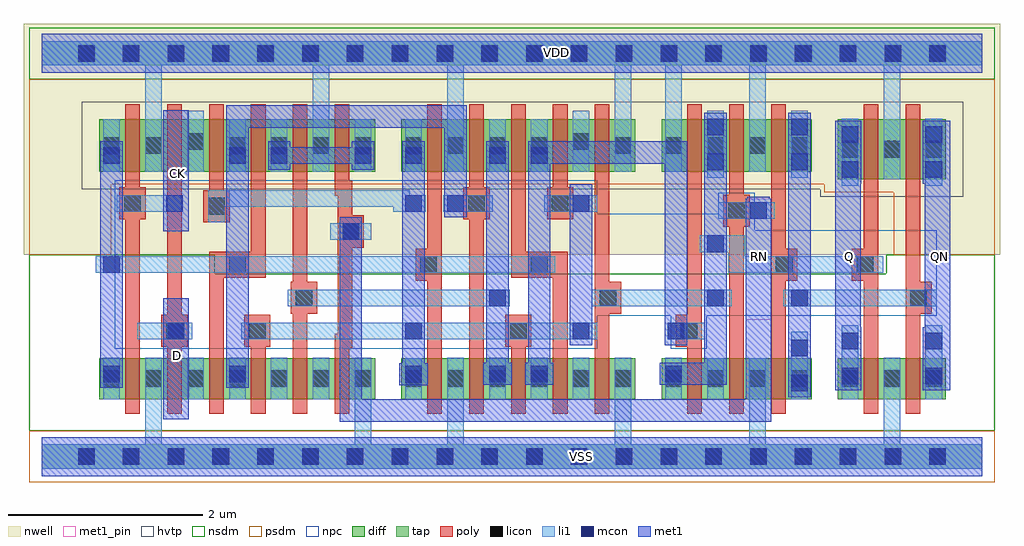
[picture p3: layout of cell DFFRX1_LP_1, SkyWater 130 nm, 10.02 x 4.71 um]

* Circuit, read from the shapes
.subckt DFFRX1_LP_1 CK D Q QN RN VDD VSS
XM1 VSS CK n1 VSS sky130_fd_pr__nfet_01v8 w=0.42 l=0.15
XM2 n2 D VSS VSS sky130_fd_pr__nfet_01v8 w=0.42 l=0.15
XM3 n3 n1 n2 VSS sky130_fd_pr__nfet_01v8 w=0.42 l=0.15
XM4 n4 n5 n3 VSS sky130_fd_pr__nfet_01v8 w=0.42 l=0.15
XM5 n6 n7 n4 VSS sky130_fd_pr__nfet_01v8 w=0.42 l=0.15
XM6 VSS RN n6 VSS sky130_fd_pr__nfet_01v8 w=0.42 l=0.15
XM7 VSS n1 n5 VSS sky130_fd_pr__nfet_01v8 w=0.42 l=0.15
XM8 n7 n3 VSS VSS sky130_fd_pr__nfet_01v8 w=0.42 l=0.15
XM9 n8 n5 n7 VSS sky130_fd_pr__nfet_01v8 w=0.42 l=0.15
XM10 n9 n1 n8 VSS sky130_fd_pr__nfet_01v8 w=0.42 l=0.15
XM11 VSS n10 n9 VSS sky130_fd_pr__nfet_01v8 w=0.42 l=0.15
XM12 n11 n8 n10 VSS sky130_fd_pr__nfet_01v8 w=0.42 l=0.15
XM13 VSS RN n11 VSS sky130_fd_pr__nfet_01v8 w=0.42 l=0.15
XM14 n12 n10 VSS VSS sky130_fd_pr__nfet_01v8 w=0.42 l=0.15
XM15 VSS n10 Q VSS sky130_fd_pr__nfet_01v8 w=0.42 l=0.15
XM16 QN n12 VSS VSS sky130_fd_pr__nfet_01v8 w=0.42 l=0.15
XM17 VDD CK n1 VDD sky130_fd_pr__pfet_01v8_hvt w=0.54 l=0.15
XM18 n13 D VDD VDD sky130_fd_pr__pfet_01v8_hvt w=0.54 l=0.15
XM19 n3 n5 n13 VDD sky130_fd_pr__pfet_01v8_hvt w=0.54 l=0.15
XM20 n14 n1 n3 VDD sky130_fd_pr__pfet_01v8_hvt w=0.54 l=0.15
XM21 VDD n7 n14 VDD sky130_fd_pr__pfet_01v8_hvt w=0.54 l=0.15
XM22 n14 RN VDD VDD sky130_fd_pr__pfet_01v8_hvt w=0.54 l=0.15
XM23 VDD n1 n5 VDD sky130_fd_pr__pfet_01v8_hvt w=0.54 l=0.15
XM24 n7 n3 VDD VDD sky130_fd_pr__pfet_01v8_hvt w=0.54 l=0.15
XM25 n8 n1 n7 VDD sky130_fd_pr__pfet_01v8_hvt w=0.54 l=0.15
XM26 n15 n5 n8 VDD sky130_fd_pr__pfet_01v8_hvt w=0.54 l=0.15
XM27 VDD n10 n15 VDD sky130_fd_pr__pfet_01v8_hvt w=0.54 l=0.15
XM28 n10 n8 VDD VDD sky130_fd_pr__pfet_01v8_hvt w=0.54 l=0.15
XM29 VDD RN n10 VDD sky130_fd_pr__pfet_01v8_hvt w=0.54 l=0.15
XM30 n12 n10 VDD VDD sky130_fd_pr__pfet_01v8_hvt w=0.54 l=0.15
XM31 VDD n10 Q VDD sky130_fd_pr__pfet_01v8_hvt w=0.62 l=0.15
XM32 QN n12 VDD VDD sky130_fd_pr__pfet_01v8_hvt w=0.62 l=0.15
.ends

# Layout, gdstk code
from math import pi, radians
import gdstk
lib = gdstk.Library(unit=1e-6, precision=1e-09)
def R(c, l, rs):  # rectangles x0, y0, x1, y1
    for r in rs: c.add(gdstk.rectangle(r[:2], r[2:], *l))
def A(c, l, x, y, w, h, nx, ny, dx, dy):  # array of equal rectangles
    R(c, l, [(x+i*dx, y+j*dy, x+i*dx+w, y+j*dy+h) for i in range(nx) for j in range(ny)])
def P(c, l, *ps):  # polygons
    for p in ps: c.add(gdstk.Polygon(p, *l))
nwell = (64, 20)
diff = (65, 20)
tap = (65, 44)
poly = (66, 20)
licon = (66, 44)
li1 = (67, 20)
mcon = (67, 44)
met1_pin = (68, 16)
met1 = (68, 20)
hvtp = (78, 44)
nsdm = (93, 44)
psdm = (94, 20)
npc = (95, 20)

licondiff_c__13 = lib.new_cell('LICONDIFF_C$$13')
R(licondiff_c__13, diff, [(-0.125,-0.145,0.125,0.145)])
R(licondiff_c__13, licon, [(-0.085,-0.085,0.085,0.085), (-0.085,-0.085,0.085,0.085)])

pyl1con_c__14 = lib.new_cell('PYL1CON_C$$14')
R(pyl1con_c__14, poly, [(-0.135,-0.165,0.135,0.165)])
R(pyl1con_c__14, licon, [(-0.085,-0.085,0.085,0.085)])
R(pyl1con_c__14, npc, [(-0.185,-0.185,0.185,0.185)])

pyl1con_c__15 = lib.new_cell('PYL1CON_C$$15')
R(pyl1con_c__15, poly, [(-0.135,-0.29,0.135,0.29)])
R(pyl1con_c__15, licon, [(-0.085,-0.085,0.085,0.085)])
R(pyl1con_c__15, npc, [(-0.185,-0.185,0.185,0.185)])

l1m1_c__16 = lib.new_cell('L1M1_C$$16')
R(l1m1_c__16, li1, [(-0.165,-0.085,0.085,0.085)])
R(l1m1_c__16, mcon, [(-0.085,-0.085,0.085,0.085)])
R(l1m1_c__16, met1, [(-0.115,-0.145,0.115,0.145)])

l1m1_c__17 = lib.new_cell('L1M1_C$$17')
R(l1m1_c__17, li1, [(-0.125,-0.085,0.125,0.085)])
R(l1m1_c__17, mcon, [(-0.085,-0.085,0.085,0.085)])
R(l1m1_c__17, met1, [(-0.115,-0.145,0.115,0.145)])

l1m1_c__18_0 = lib.new_cell('L1M1_C$$18_0')
R(l1m1_c__18_0, li1, [(-0.085,-0.165,0.085,0.165)])
R(l1m1_c__18_0, mcon, [(-0.085,-0.085,0.085,0.085)])
R(l1m1_c__18_0, met1, [(-0.145,-0.115,0.145,0.115)])

l1m1_c__19 = lib.new_cell('L1M1_C$$19')
R(l1m1_c__19, li1, [(-0.085,-0.165,0.085,0.165)])
R(l1m1_c__19, mcon, [(-0.085,-0.085,0.085,0.085)])
R(l1m1_c__19, met1, [(-0.115,-0.145,0.115,0.145)])

l1m1_c__20 = lib.new_cell('L1M1_C$$20')
R(l1m1_c__20, li1, [(-0.165,-0.085,0.165,0.085)])
R(l1m1_c__20, mcon, [(-0.085,-0.085,0.085,0.085)])
R(l1m1_c__20, met1, [(-0.115,-0.145,0.115,0.145)])

l1m1_c__21_0 = lib.new_cell('L1M1_C$$21_0')
R(l1m1_c__21_0, li1, [(-0.085,-0.085,0.085,0.085)])
R(l1m1_c__21_0, mcon, [(-0.085,-0.085,0.085,0.085)])
R(l1m1_c__21_0, met1, [(-0.115,-0.145,0.115,0.145)])

l1m1_c__22_0 = lib.new_cell('L1M1_C$$22_0')
R(l1m1_c__22_0, li1, [(-0.085,-0.345,0.085,0.345)])
R(l1m1_c__22_0, mcon, [(-0.085,-0.265,0.085,-0.095), (-0.085,0.095,0.085,0.265)])
R(l1m1_c__22_0, met1, [(-0.115,-0.325,0.115,0.325)])

dffrx1_lp_1 = lib.new_cell('DFFRX1_LP_1')
R(dffrx1_lp_1, nwell, [(-0.18,2.07,9.84,4.445)])
R(dffrx1_lp_1, diff, [(0.595,0.59,3.425,1.01), (3.695,0.59,6.095,1.01), (6.365,0.59,7.905,1.01), (8.175,0.59,9.285,1.01), (8.175,2.845,9.285,3.465), (0.595,2.925,3.425,3.465), (3.695,2.925,6.095,3.465), (6.365,2.925,7.905,3.465)])
A(dffrx1_lp_1, poly, 6.63, 0.44, 0.15, 3.175, 3, 1, 0.43, 0)
R(dffrx1_lp_1, poly, [(0.86,0.44,1.01,3.615), (1.29,0.44,1.44,3.615), (2.15,0.44,2.3,1.16), (2.58,0.44,2.73,3.615), (3.96,0.44,4.11,3.615), (4.39,0.44,4.54,3.615), (4.82,0.44,4.97,1.16), (5.68,0.44,5.83,3.615), (8.44,0.44,8.59,3.615), (8.87,0.44,9.02,3.615), (1.72,2.6,1.87,3.615), (5.25,2.6,5.4,3.615)])
P(dffrx1_lp_1, poly, [(5.4,2.045),(4.97,2.045),(4.97,3.615),(4.82,3.615),(4.82,1.895),(5.25,1.895),(5.25,0.44),(5.4,0.44)],
  [(3.19,2.83),(3.16,2.83),(3.16,3.615),(3.01,3.615),(3.01,2.68),(3.04,2.68),(3.04,1.26),(3.01,1.26),(3.01,0.44),(3.16,0.44),(3.16,1.11),(3.19,1.11)],
  [(2.3,3.615),(2.15,3.615),(2.15,2.045),(1.72,2.045),(1.72,0.44),(1.87,0.44),(1.87,1.895),(2.3,1.895)])
A(dffrx1_lp_1, licon, 0.375, -0.085, 0.17, 0.17, 20, 2, 0.46, 4.14)
A(dffrx1_lp_1, licon, 3.735, 0.715, 0.17, 0.17, 4, 2, 0.43, 2.395)
A(dffrx1_lp_1, licon, 6.405, 0.715, 0.17, 0.17, 4, 2, 0.43, 2.395)
A(dffrx1_lp_1, licon, 8.215, 0.715, 0.17, 0.17, 3, 2, 0.43, 2.355)
A(dffrx1_lp_1, licon, 1.925, 3.11, 0.17, 0.17, 4, 1, 0.43, 0)
R(dffrx1_lp_1, licon, [(0.635,0.715,0.805,0.885), (1.065,0.715,1.235,0.885), (1.925,0.715,2.095,0.885), (3.215,0.715,3.385,0.885), (5.885,0.715,6.055,0.885), (0.635,3.11,0.805,3.28), (1.065,3.11,1.235,3.28), (5.885,3.11,6.055,3.28)])
R(dffrx1_lp_1, li1, [(0.635,0.59,0.805,1.01), (1.925,0.59,2.095,1.01), (3.735,0.59,3.905,1.01), (4.595,0.59,4.765,1.01), (5.025,0.59,5.195,1.01), (6.405,0.59,6.575,1.01), (6.835,0.59,7.005,1.01), (7.695,0.59,7.865,1.01), (8.215,0.59,8.385,1.01), (9.075,0.59,9.245,1.01), (8.215,2.845,8.385,3.465), (9.075,2.845,9.245,3.465), (0.635,2.925,0.805,3.465), (1.925,2.925,2.095,3.465), (2.355,2.925,2.525,3.465), (3.215,2.925,3.385,3.465), (3.735,2.925,3.905,3.465), (4.595,2.925,4.765,3.465), (5.025,2.925,5.195,3.465), (6.835,2.925,7.005,3.465), (7.695,2.925,7.865,3.465)])
P(dffrx1_lp_1, li1, [(9.66,0.125),(8.815,0.125),(8.815,1.015),(8.645,1.015),(8.645,0.125),(7.435,0.125),(7.435,1.01),(7.265,1.01),(7.265,0.125),(6.055,0.125),(6.055,1.015),(5.885,1.015),(5.885,0.125),(4.335,0.125),(4.335,1.015),(4.165,1.015),(4.165,0.125),(3.385,0.125),(3.385,1.015),(3.215,1.015),(3.215,0.125),(1.235,0.125),(1.235,1.015),(1.065,1.015),(1.065,0.125),(0,0.125),(0,-0.125),(9.66,-0.125)],
  [(9.66,4.265),(0,4.265),(0,4.015),(1.065,4.015),(1.065,2.925),(1.235,2.925),(1.235,4.015),(2.785,4.015),(2.785,2.925),(2.955,2.925),(2.955,4.015),(4.165,4.015),(4.165,2.925),(4.335,2.925),(4.335,4.015),(5.885,4.015),(5.885,2.925),(6.055,2.925),(6.055,4.015),(6.405,4.015),(6.405,2.925),(6.575,2.925),(6.575,4.015),(7.265,4.015),(7.265,2.925),(7.435,2.925),(7.435,4.015),(8.645,4.015),(8.645,2.845),(8.815,2.845),(8.815,4.015),(9.66,4.015)],
  [(8.64,2.055),(7.22,2.055),(7.22,2.27),(6.92,2.27),(6.92,2.1),(7.05,2.1),(7.05,1.885),(8.64,1.885)],
  [(3.82,2.685),(3.78,2.685),(3.78,2.735),(1.71,2.735),(1.71,2.405),(1.88,2.405),(1.88,2.565),(3.61,2.565),(3.61,2.515),(3.82,2.515)])
A(dffrx1_lp_1, mcon, 0.375, -0.085, 0.17, 0.17, 20, 2, 0.46, 4.14)
R(dffrx1_lp_1, met1_pin, [(1.25,0.385,1.51,1.625), (8.15,0.68,8.41,3.45), (9.07,0.68,9.33,3.45), (7.23,1.405,7.49,2.645), (1.25,2.315,1.51,3.555)])
P(dffrx1_lp_1, met1, [(7.49,2.645),(7.23,2.645),(7.23,0.59),(3.29,0.59),(3.29,2.31),(3.06,2.31),(3.06,0.36),(7.49,0.36)])
P(dffrx1_lp_1, hvtp, [(9.465,3.645),(0.415,3.645),(0.415,2.745),(7.995,2.745),(7.995,2.665),(9.465,2.665)])
R(dffrx1_lp_1, nsdm, [(-0.125,3.875,9.785,4.405)])
P(dffrx1_lp_1, nsdm, [(9.785,2.07),(8.67,2.07),(8.67,1.875),(1.78,1.875),(1.78,2.07),(-0.125,2.07),(-0.125,0.265),(9.785,0.265)])
R(dffrx1_lp_1, psdm, [(-0.125,-0.265,9.785,0.265)])
P(dffrx1_lp_1, psdm, [(9.785,3.875),(-0.125,3.875),(-0.125,2.07),(0.715,2.07),(0.715,2.795),(8.035,2.795),(8.035,2.715),(8.75,2.715),(8.75,2.07),(9.785,2.07)])
P(dffrx1_lp_1, npc, [(9.19,2.325),(7.32,2.325),(7.32,2.495),(5.705,2.495),(5.705,2.835),(0.75,2.835),(0.75,1.105),(5.705,1.105),(5.705,1.445),(9.19,1.445)])
dffrx1_lp_1.add(gdstk.FlexPath([(7.615,1.63),(9.19,1.63)], 0.17, ends="flush", simple_path=True, layer=67, datatype=20))  # li1
dffrx1_lp_1.add(gdstk.FlexPath([(6.92,1.63),(5.65,1.63)], 0.17, ends="flush", simple_path=True, layer=67, datatype=20))  # li1
dffrx1_lp_1.add(gdstk.FlexPath([(0.77,2.6),(1.315,2.6)], 0.17, ends="flush", simple_path=True, layer=67, datatype=20))  # li1
dffrx1_lp_1.add(gdstk.FlexPath([(0.985,1.29),(1.53,1.29)], 0.17, ends="flush", simple_path=True, layer=67, datatype=20))  # li1
dffrx1_lp_1.add(gdstk.FlexPath([(5.54,2.925),(5.54,3.55)], 0.17, ends="flush", simple_path=True, layer=67, datatype=20))  # li1
dffrx1_lp_1.add(gdstk.FlexPath([(5.54,0.59),(5.54,1.015)], 0.17, ends="flush", simple_path=True, layer=67, datatype=20))  # li1
dffrx1_lp_1.add(gdstk.FlexPath([(2.44,0.59),(2.44,1.015)], 0.17, ends="flush", simple_path=True, layer=67, datatype=20))  # li1
dffrx1_lp_1.add(gdstk.FlexPath([(0.555,1.97),(5.275,1.97)], 0.17, ends="flush", simple_path=True, layer=67, datatype=20))  # li1
dffrx1_lp_1.add(gdstk.FlexPath([(2.05,1.29),(5.705,1.29)], 0.17, ends="flush", simple_path=True, layer=67, datatype=20))  # li1
dffrx1_lp_1.add(gdstk.FlexPath([(4.125,2.6),(4.63,2.6)], 0.17, ends="flush", simple_path=True, layer=67, datatype=20))  # li1
dffrx1_lp_1.add(gdstk.FlexPath([(1.58,2.925),(1.58,3.55)], 0.17, ends="flush", simple_path=True, layer=67, datatype=20))  # li1
dffrx1_lp_1.add(gdstk.FlexPath([(1.58,0.59),(1.58,1.015)], 0.17, ends="flush", simple_path=True, layer=67, datatype=20))  # li1
dffrx1_lp_1.add(gdstk.FlexPath([(2.87,0.59),(2.87,1.015)], 0.17, ends="flush", simple_path=True, layer=67, datatype=20))  # li1
dffrx1_lp_1.add(gdstk.FlexPath([(2.53,1.63),(4.805,1.63)], 0.17, ends="flush", simple_path=True, layer=67, datatype=20))  # li1
dffrx1_lp_1.add(gdstk.FlexPath([(5.16,2.6),(5.705,2.6)], 0.17, ends="flush", simple_path=True, layer=67, datatype=20))  # li1
dffrx1_lp_1.add(gdstk.FlexPath([(6.81,1.29),(6.515,1.29)], 0.17, ends="flush", simple_path=True, layer=67, datatype=20))  # li1
dffrx1_lp_1.add(gdstk.FlexPath([(2.965,2.31),(3.385,2.31)], 0.17, ends="flush", simple_path=True, layer=67, datatype=20))  # li1
dffrx1_lp_1.add(gdstk.FlexPath([(7.36,2.525),(6.95,2.525)], 0.17, ends="flush", simple_path=True, layer=67, datatype=20))  # li1
dffrx1_lp_1.add(gdstk.FlexPath([(0,0),(9.66,0)], 0.25, ends="flush", simple_path=True, layer=65, datatype=44))  # tap
dffrx1_lp_1.add(gdstk.FlexPath([(0,4.14),(9.66,4.14)], 0.25, ends="flush", simple_path=True, layer=65, datatype=44))  # tap
dffrx1_lp_1.add(gdstk.FlexPath([(4.68,0.735),(4.68,3.235)], 0.23, ends="flush", simple_path=True, layer=68, datatype=20))  # met1
dffrx1_lp_1.add(gdstk.FlexPath([(0.72,0.705),(0.72,3.235)], 0.23, ends="flush", simple_path=True, layer=68, datatype=20))  # met1
dffrx1_lp_1.add(gdstk.FlexPath([(4.25,2.505),(4.25,3.49),(2.01,3.49),(2.01,0.705)], 0.23, ends="flush", simple_path=True, layer=68, datatype=20))  # met1
dffrx1_lp_1.add(gdstk.FlexPath([(2.325,3.09),(3.415,3.09)], 0.17, ends="flush", simple_path=True, layer=68, datatype=20))  # met1
dffrx1_lp_1.add(gdstk.FlexPath([(7.78,0.61),(7.78,3.53)], 0.23, ends="flush", simple_path=True, layer=68, datatype=20))  # met1
dffrx1_lp_1.add(gdstk.FlexPath([(1.38,2.315),(1.38,3.555)], 0.26, ends="flush", simple_path=True, layer=68, datatype=20))  # met1
dffrx1_lp_1.add(gdstk.FlexPath([(9.2,3.45),(9.2,0.68)], 0.26, ends="flush", simple_path=True, layer=68, datatype=20))  # met1
dffrx1_lp_1.add(gdstk.FlexPath([(8.28,3.45),(8.28,0.68)], 0.26, ends="flush", simple_path=True, layer=68, datatype=20))  # met1
dffrx1_lp_1.add(gdstk.FlexPath([(1.38,1.625),(1.38,0.385)], 0.26, ends="flush", simple_path=True, layer=68, datatype=20))  # met1
dffrx1_lp_1.add(gdstk.FlexPath([(3.82,0.73),(3.82,3.235)], 0.23, ends="flush", simple_path=True, layer=68, datatype=20))  # met1
dffrx1_lp_1.add(gdstk.FlexPath([(6.375,0.85),(6.92,0.85),(6.92,3.53)], 0.23, ends="flush", simple_path=True, layer=68, datatype=20))  # met1
dffrx1_lp_1.add(gdstk.FlexPath([(5.54,1.145),(5.54,2.795)], 0.23, ends="flush", simple_path=True, layer=68, datatype=20))  # met1
dffrx1_lp_1.add(gdstk.FlexPath([(6.515,1.145),(6.515,3.12),(5.11,3.12),(5.11,0.735)], 0.23, ends="flush", simple_path=True, layer=68, datatype=20))  # met1
dffrx1_lp_1.add(gdstk.FlexPath([(0,0),(9.66,0)], 0.4, ends="flush", simple_path=True, layer=68, datatype=20))  # met1
dffrx1_lp_1.add(gdstk.FlexPath([(0,4.14),(9.66,4.14)], 0.4, ends="flush", simple_path=True, layer=68, datatype=20))  # met1
dffrx1_lp_1.add(gdstk.FlexPath([(0,4.14),(9.66,4.14)], 0.4, ends="flush", simple_path=True, layer=68, datatype=16))  # met1_pin
dffrx1_lp_1.add(gdstk.FlexPath([(0,0),(9.66,0)], 0.4, ends="flush", simple_path=True, layer=68, datatype=16))  # met1_pin
dffrx1_lp_1.add(gdstk.Reference(licondiff_c__13, (5.54,0.8)))
dffrx1_lp_1.add(gdstk.Reference(licondiff_c__13, (5.54,3.235)))
dffrx1_lp_1.add(gdstk.Reference(licondiff_c__13, (1.58,3.235)))
dffrx1_lp_1.add(gdstk.Reference(licondiff_c__13, (1.58,0.8)))
dffrx1_lp_1.add(gdstk.Reference(licondiff_c__13, (2.44,0.8)))
dffrx1_lp_1.add(gdstk.Reference(licondiff_c__13, (2.87,0.8)))
dffrx1_lp_1.add(gdstk.Reference(pyl1con_c__14, (9.005,1.63), rotation=pi, x_reflection=True))
dffrx1_lp_1.add(gdstk.Reference(pyl1con_c__14, (7.625,1.97), rotation=pi, x_reflection=True))
dffrx1_lp_1.add(gdstk.Reference(pyl1con_c__14, (8.455,1.97), rotation=pi, x_reflection=True))
dffrx1_lp_1.add(gdstk.Reference(pyl1con_c__14, (2.695,1.63), rotation=pi))
dffrx1_lp_1.add(gdstk.Reference(pyl1con_c__14, (3.175,2.31), x_reflection=True))
dffrx1_lp_1.add(gdstk.Reference(pyl1con_c__14, (0.935,2.6), rotation=pi))
dffrx1_lp_1.add(gdstk.Reference(pyl1con_c__14, (1.365,1.29), x_reflection=True))
dffrx1_lp_1.add(gdstk.Reference(pyl1con_c__14, (3.975,1.97), rotation=pi, x_reflection=True))
dffrx1_lp_1.add(gdstk.Reference(pyl1con_c__14, (5.815,1.63), rotation=pi, x_reflection=True))
dffrx1_lp_1.add(gdstk.Reference(pyl1con_c__14, (4.895,1.29), x_reflection=True))
dffrx1_lp_1.add(gdstk.Reference(pyl1con_c__14, (2.215,1.29), x_reflection=True))
dffrx1_lp_1.add(gdstk.Reference(pyl1con_c__14, (1.795,2.57), rotation=pi))
dffrx1_lp_1.add(gdstk.Reference(pyl1con_c__14, (5.325,2.6), rotation=pi))
dffrx1_lp_1.add(gdstk.Reference(pyl1con_c__14, (7.135,2.525)))
dffrx1_lp_1.add(gdstk.Reference(pyl1con_c__14, (6.645,1.29)))
dffrx1_lp_1.add(gdstk.Reference(pyl1con_c__14, (4.465,2.6), rotation=pi))
dffrx1_lp_1.add(gdstk.Reference(pyl1con_c__15, (2.01,1.97), rotation=pi/2, x_reflection=True))
dffrx1_lp_1.add(gdstk.Reference(pyl1con_c__15, (5.11,1.97), rotation=pi/2))
dffrx1_lp_1.add(gdstk.Reference(l1m1_c__16, (1.365,2.6), x_reflection=True))
dffrx1_lp_1.add(gdstk.Reference(l1m1_c__17, (4.68,1.63)))
dffrx1_lp_1.add(gdstk.Reference(l1m1_c__17, (3.82,2.6), rotation=pi, x_reflection=True))
dffrx1_lp_1.add(gdstk.Reference(l1m1_c__17, (3.175,2.31), rotation=pi, x_reflection=True))
dffrx1_lp_1.add(gdstk.Reference(l1m1_c__17, (4.25,2.6), rotation=pi, x_reflection=True))
dffrx1_lp_1.add(gdstk.Reference(l1m1_c__18_0, (6.49,0.85)))
dffrx1_lp_1.add(gdstk.Reference(l1m1_c__18_0, (3.82,0.845), rotation=pi, x_reflection=True))
dffrx1_lp_1.add(gdstk.Reference(l1m1_c__18_0, (4.68,0.85), rotation=pi, x_reflection=True))
dffrx1_lp_1.add(gdstk.Reference(l1m1_c__18_0, (5.11,0.85), rotation=pi, x_reflection=True))
dffrx1_lp_1.add(gdstk.Reference(l1m1_c__19, (2.44,3.09), rotation=pi, x_reflection=True))
dffrx1_lp_1.add(gdstk.Reference(l1m1_c__19, (0.72,3.09), rotation=pi, x_reflection=True))
dffrx1_lp_1.add(gdstk.Reference(l1m1_c__19, (0.72,0.85), rotation=pi, x_reflection=True))
dffrx1_lp_1.add(gdstk.Reference(l1m1_c__19, (3.3,3.09), rotation=pi, x_reflection=True))
dffrx1_lp_1.add(gdstk.Reference(l1m1_c__19, (3.82,3.09), rotation=pi, x_reflection=True))
dffrx1_lp_1.add(gdstk.Reference(l1m1_c__19, (4.68,3.09), rotation=pi, x_reflection=True))
dffrx1_lp_1.add(gdstk.Reference(l1m1_c__19, (5.11,3.09), rotation=pi, x_reflection=True))
dffrx1_lp_1.add(gdstk.Reference(l1m1_c__19, (2.01,3.09), rotation=pi, x_reflection=True))
dffrx1_lp_1.add(gdstk.Reference(l1m1_c__19, (2.01,0.85), rotation=pi, x_reflection=True))
dffrx1_lp_1.add(gdstk.Reference(l1m1_c__20, (7.78,1.63), x_reflection=True))
dffrx1_lp_1.add(gdstk.Reference(l1m1_c__20, (6.92,2.185)))
dffrx1_lp_1.add(gdstk.Reference(l1m1_c__20, (0.72,1.97), rotation=pi, x_reflection=True))
dffrx1_lp_1.add(gdstk.Reference(l1m1_c__20, (1.38,1.29)))
dffrx1_lp_1.add(gdstk.Reference(l1m1_c__20, (7.36,2.525)))
dffrx1_lp_1.add(gdstk.Reference(l1m1_c__20, (6.92,1.63)))
dffrx1_lp_1.add(gdstk.Reference(l1m1_c__20, (3.82,1.29)))
dffrx1_lp_1.add(gdstk.Reference(l1m1_c__20, (5.54,1.29)))
dffrx1_lp_1.add(gdstk.Reference(l1m1_c__20, (5.54,2.6)))
dffrx1_lp_1.add(gdstk.Reference(l1m1_c__21_0, (6.515,1.29)))
dffrx1_lp_1.add(gdstk.Reference(l1m1_c__22_0, (9.16,3.125)))
dffrx1_lp_1.add(gdstk.Reference(l1m1_c__22_0, (9.16,1.005)))
dffrx1_lp_1.add(gdstk.Reference(l1m1_c__22_0, (8.3,3.125)))
dffrx1_lp_1.add(gdstk.Reference(l1m1_c__22_0, (8.3,1.005)))
dffrx1_lp_1.add(gdstk.Reference(l1m1_c__22_0, (7.78,3.205), rotation=pi, x_reflection=True))
dffrx1_lp_1.add(gdstk.Reference(l1m1_c__22_0, (7.78,0.935)))
dffrx1_lp_1.add(gdstk.Reference(l1m1_c__22_0, (6.92,3.205), rotation=pi, x_reflection=True))
dffrx1_lp_1.add(gdstk.Label('VDD', (5.285,4.145), layer=68, texttype=5))
dffrx1_lp_1.add(gdstk.Label('CK', (1.395,2.91), layer=68, texttype=5))
dffrx1_lp_1.add(gdstk.Label('VSS', (5.545,0.005), layer=68, texttype=5))
dffrx1_lp_1.add(gdstk.Label('QN', (9.215,2.055), layer=68, texttype=5))
dffrx1_lp_1.add(gdstk.Label('Q', (8.295,2.055), layer=68, texttype=5))
dffrx1_lp_1.add(gdstk.Label('D', (1.395,1.035), layer=68, texttype=5))
dffrx1_lp_1.add(gdstk.Label('RN', (7.375,2.055), layer=68, texttype=5))

lib.write_gds('DFFRX1_LP_1.gds')
